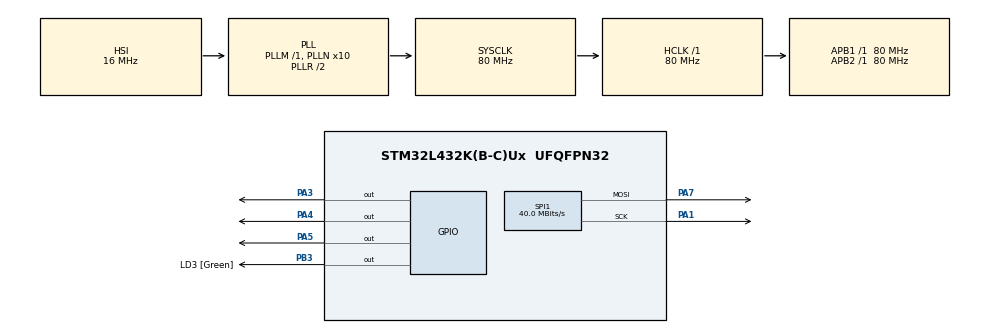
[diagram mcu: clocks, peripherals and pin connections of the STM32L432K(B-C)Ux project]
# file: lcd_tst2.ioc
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Mcu.Family=STM32L4
Mcu.Name=STM32L432K(B-C)Ux
Mcu.Package=UFQFPN32
NVIC.PriorityGroup=NVIC_PRIORITYGROUP_4
PA1.Mode=TX_Only_Simplex_Unidirect_Master
PA1.Signal=SPI1_SCK
PA3.GPIO_PuPd=GPIO_NOPULL
PA3.GPIO_Speed=GPIO_SPEED_FREQ_VERY_HIGH
PA3.PinState=GPIO_PIN_SET
PA3.Signal=GPIO_Output
PA4.GPIO_PuPd=GPIO_NOPULL
PA4.GPIO_Speed=GPIO_SPEED_FREQ_LOW
PA4.Signal=GPIO_Output
PA5.GPIO_PuPd=GPIO_NOPULL
PA5.GPIO_Speed=GPIO_SPEED_FREQ_VERY_HIGH
PA5.Signal=GPIO_Output
PA7.Mode=TX_Only_Simplex_Unidirect_Master
PA7.Signal=SPI1_MOSI
PB3\ (JTDO-TRACESWO).GPIO_Label=LD3 [Green]
PB3\ (JTDO-TRACESWO).Signal=GPIO_Output
ProjectManager.HeapSize=0x200
ProjectManager.StackSize=0x400
ProjectManager.TargetToolchain=STM32CubeIDE
RCC.ADCFreq_Value=64000000
RCC.AHBFreq_Value=80000000
RCC.APB1Freq_Value=80000000
RCC.APB1TimFreq_Value=80000000
RCC.APB2Freq_Value=80000000
RCC.APB2TimFreq_Value=80000000
RCC.CortexFreq_Value=80000000
RCC.HCLKFreq_Value=80000000
RCC.HSE_VALUE=8000000
RCC.HSI16_VALUE=16000000
RCC.HSI48_VALUE=48000000
RCC.HSI_VALUE=16000000
RCC.LSE_VALUE=32768
RCC.MSI_VALUE=4000000
RCC.PLLMUL=RCC_PLLMUL_4
RCC.PLLN=10
RCC.PLLSourceVirtual=RCC_PLLSOURCE_HSI
RCC.SYSCLKFreq_VALUE=80000000
RCC.SYSCLKSource=RCC_SYSCLKSOURCE_PLLCLK
RCC.USBFreq_Value=64000000
RCC.VCOOutputFreq_Value=160000000
SPI1.BaudRatePrescaler=SPI_BAUDRATEPRESCALER_2
SPI1.CRCCalculation=SPI_CRCCALCULATION_DISABLE
SPI1.CalculateBaudRate=40.0 MBits/s
SPI1.DataSize=SPI_DATASIZE_8BIT
SPI1.Direction=SPI_DIRECTION_2LINES
SPI1.FirstBit=SPI_FIRSTBIT_MSB
SPI1.Mode=SPI_MODE_MASTER
SPI1.NSSPMode=SPI_NSS_PULSE_ENABLE
SPI1.VirtualType=VM_MASTER
board=NUCLEO-L432KC

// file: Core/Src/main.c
/* USER CODE BEGIN Header */
/**
  ******************************************************************************
  * @file           : main.c
  * @brief          : Main program body
  ******************************************************************************
  * @attention
  *
  * Copyright (c) 2025 STMicroelectronics.
  * All rights reserved.
  *
  * This software is licensed under terms that can be found in the LICENSE file
  * in the root directory of this software component.
  * If no LICENSE file comes with this software, it is provided AS-IS.
  *
  ******************************************************************************
  */
/* USER CODE END Header */
#include "main.h"

/* USER CODE BEGIN Includes */
#include "ILI9341_GFX.h"
#include "ILI9341_STM32_Driver.h"
#include "stdio.h"
#include "snow_tiger.h"
#include "pri_logo.h"
#include "tst_img.h"
#include "string.h"
/* USER CODE END Includes */

SPI_HandleTypeDef hspi1;

void SystemClock_Config(void);
static void MX_GPIO_Init(void);
static void MX_SPI1_Init(void);
/* USER CODE BEGIN PFP */
void test_nepali(void);
void phut_nep(void);
void draw_logo(void);
/* USER CODE END PFP */

int main(void)
{

  /* MCU Configuration--------------------------------------------------------*/

  /* Reset of all peripherals, Initializes the Flash interface and the Systick. */
  HAL_Init();

  /* Configure the system clock */
  SystemClock_Config();

  /* Initialize all configured peripherals */
  MX_GPIO_Init();
  MX_SPI1_Init();
  /* USER CODE BEGIN 2 */
  ILI9341_Init();
  /* USER CODE END 2 */

  /* Infinite loop */
  /* USER CODE BEGIN WHILE */
//  phut_nep();
//  HAL_Delay(2000);
  test_nepali();
  while (1)
  {
    /* USER CODE END WHILE */

  }
}

void SystemClock_Config(void)
{
  RCC_OscInitTypeDef RCC_OscInitStruct = {0};
  RCC_ClkInitTypeDef RCC_ClkInitStruct = {0};

  /** Configure the main internal regulator output voltage
  */
  if (HAL_PWREx_ControlVoltageScaling(PWR_REGULATOR_VOLTAGE_SCALE1) != HAL_OK)
  {
    Error_Handler();
  }

  /** Initializes the RCC Oscillators according to the specified parameters
  * in the RCC_OscInitTypeDef structure.
  */
  RCC_OscInitStruct.OscillatorType = RCC_OSCILLATORTYPE_HSI;
  RCC_OscInitStruct.HSIState = RCC_HSI_ON;
  RCC_OscInitStruct.HSICalibrationValue = RCC_HSICALIBRATION_DEFAULT;
  RCC_OscInitStruct.PLL.PLLState = RCC_PLL_ON;
  RCC_OscInitStruct.PLL.PLLSource = RCC_PLLSOURCE_HSI;
  RCC_OscInitStruct.PLL.PLLM = 1;
  RCC_OscInitStruct.PLL.PLLN = 10;
  RCC_OscInitStruct.PLL.PLLP = RCC_PLLP_DIV7;
  RCC_OscInitStruct.PLL.PLLQ = RCC_PLLQ_DIV2;
  RCC_OscInitStruct.PLL.PLLR = RCC_PLLR_DIV2;
  if (HAL_RCC_OscConfig(&RCC_OscInitStruct) != HAL_OK)
  {
    Error_Handler();
  }

  /** Initializes the CPU, AHB and APB buses clocks
  */
  RCC_ClkInitStruct.ClockType = RCC_CLOCKTYPE_HCLK|RCC_CLOCKTYPE_SYSCLK
                              |RCC_CLOCKTYPE_PCLK1|RCC_CLOCKTYPE_PCLK2;
  RCC_ClkInitStruct.SYSCLKSource = RCC_SYSCLKSOURCE_PLLCLK;
  RCC_ClkInitStruct.AHBCLKDivider = RCC_SYSCLK_DIV1;
  RCC_ClkInitStruct.APB1CLKDivider = RCC_HCLK_DIV1;
  RCC_ClkInitStruct.APB2CLKDivider = RCC_HCLK_DIV1;

  if (HAL_RCC_ClockConfig(&RCC_ClkInitStruct, FLASH_LATENCY_4) != HAL_OK)
  {
    Error_Handler();
  }
}

static void MX_SPI1_Init(void)
{

  /* SPI1 parameter configuration*/
  hspi1.Instance = SPI1;
  hspi1.Init.Mode = SPI_MODE_MASTER;
  hspi1.Init.Direction = SPI_DIRECTION_2LINES;
  hspi1.Init.DataSize = SPI_DATASIZE_8BIT;
  hspi1.Init.CLKPolarity = SPI_POLARITY_LOW;
  hspi1.Init.CLKPhase = SPI_PHASE_1EDGE;
  hspi1.Init.NSS = SPI_NSS_SOFT;
  hspi1.Init.BaudRatePrescaler = SPI_BAUDRATEPRESCALER_2;
  hspi1.Init.FirstBit = SPI_FIRSTBIT_MSB;
  hspi1.Init.TIMode = SPI_TIMODE_DISABLE;
  hspi1.Init.CRCCalculation = SPI_CRCCALCULATION_DISABLE;
  hspi1.Init.CRCPolynomial = 7;
  hspi1.Init.CRCLength = SPI_CRC_LENGTH_DATASIZE;
  hspi1.Init.NSSPMode = SPI_NSS_PULSE_ENABLE;
  if (HAL_SPI_Init(&hspi1) != HAL_OK)
  {
    Error_Handler();
  }

}

static void MX_GPIO_Init(void)
{
  GPIO_InitTypeDef GPIO_InitStruct = {0};

  /* GPIO Ports Clock Enable */
  __HAL_RCC_GPIOA_CLK_ENABLE();
  __HAL_RCC_GPIOB_CLK_ENABLE();

  /*Configure GPIO pin Output Level */
  HAL_GPIO_WritePin(GPIOA, GPIO_PIN_3, GPIO_PIN_SET);

  /*Configure GPIO pin Output Level */
  HAL_GPIO_WritePin(GPIOA, GPIO_PIN_4|GPIO_PIN_5, GPIO_PIN_RESET);

  /*Configure GPIO pin Output Level */
  HAL_GPIO_WritePin(LD3_GPIO_Port, LD3_Pin, GPIO_PIN_RESET);

  /*Configure GPIO pins : PA3 PA5 */
  GPIO_InitStruct.Pin = GPIO_PIN_3|GPIO_PIN_5;
  GPIO_InitStruct.Mode = GPIO_MODE_OUTPUT_PP;
  GPIO_InitStruct.Pull = GPIO_NOPULL;
  GPIO_InitStruct.Speed = GPIO_SPEED_FREQ_VERY_HIGH;
  HAL_GPIO_Init(GPIOA, &GPIO_InitStruct);

  /*Configure GPIO pin : PA4 */
  GPIO_InitStruct.Pin = GPIO_PIN_4;
  GPIO_InitStruct.Mode = GPIO_MODE_OUTPUT_PP;
  GPIO_InitStruct.Pull = GPIO_NOPULL;
  GPIO_InitStruct.Speed = GPIO_SPEED_FREQ_LOW;
  HAL_GPIO_Init(GPIOA, &GPIO_InitStruct);

  /*Configure GPIO pin : LD3_Pin */
  GPIO_InitStruct.Pin = LD3_Pin;
  GPIO_InitStruct.Mode = GPIO_MODE_OUTPUT_PP;
  GPIO_InitStruct.Pull = GPIO_NOPULL;
  GPIO_InitStruct.Speed = GPIO_SPEED_FREQ_LOW;
  HAL_GPIO_Init(LD3_GPIO_Port, &GPIO_InitStruct);

}

/* USER CODE BEGIN 4 */
void test_nepali(void)
{
	char nepali[42] = "svu3Br5hem`67890ftybwgkkmaedo/njzif;xIfq1";
	char vow[25] = "ccfOO{ppmPP]cf]cf}c+cM";
	char spc[18] = "flL'\"]}+MF[\\{|f]f}";
	char misc[5] = ",-_.=";
	char num[10] = "!@#$%^&*()";

	uint8_t fWidth = PREETI[1]+4;
	uint8_t fHeight = PREETI[2]+4;
	float scale = 0.5;

	uint16_t x = 0;
	uint16_t y = 0;
	uint8_t i = 0;
	uint8_t tst[3] = {0,8,37};
	char word[5];

	uint8_t len_spc = strlen(spc);
	uint8_t len_nep = strlen(nepali);

	ILI9341_SetRotation(SCREEN_VERTICAL_2);
	ILI9341_FillScreen(BLACK);

	while(i<len_nep)
	{
		if(i == 8 || i == 15 || i == 23 || i == 33 || i == 37)
		{
			word[0] = nepali[i];
			word[1] = nepali[i+1];
			word[2] = '\0';
			i += 2;
		}
		else
		{
			word[0] = nepali[i];
			word[1] = '\0';
			i++;
		}
		ILI9341_PreetiText(word, PREETI, scale, x,y, WHITE, BLACK);
		x += fWidth;
		if(x > (320/scale - fWidth)){x = 0; y += fHeight;}
	}
	HAL_Delay(2000);

	/*Print numbers 1,2,3,4,5,6,7,8,9,0*/
	ILI9341_FillScreen(BLACK);
	x = 0; y = 0;
	ILI9341_PreetiText(num, PREETI,scale, x,y, WHITE, BLACK);

	/*Print Vowels*/
	x = 0; y += fHeight;
	ILI9341_PreetiText(vow, PREETI, scale, x,y, WHITE, BLACK);

	/*Print special characters available in the font*/
	x = 0; y += fHeight;
	ILI9341_PreetiText("sf]", PREETI, scale ,x,y, WHITE, BLACK);
	HAL_Delay(5000);

	/*Test varnamala*/
	i = 0;
	while(i < 3)
	{
	  uint16_t x = 0;
	  uint8_t y = 0;
	  uint8_t j = 0;

	  ILI9341_FillScreen(BLACK);
	  while(j<len_spc)
	  {
		  if (i == 0 && j <14)
		  {
			  word[0] = nepali[tst[i]];
			  word[1] = spc[j];
			  word[2] = '\0';
		  }
		  else if (i == 0 && j >13)
		  {
			  word[0] = nepali[tst[i]];
			  word[1] = spc[j];
			  word[2] = spc[j+1];
			  word[3] = '\0';
			  j++;
		  }
		  else if (i > 0 && j >13)
		  {
			  word[0] = nepali[tst[i]];
			  word[1] = nepali[tst[i]+1];
			  word[2] = spc[j];
			  word[3] = spc[j+1];
			  word[4] = '\0';
			  j++;
		  }
		  else
		  {
			  word[0] = nepali[tst[i]];
			  word[1] = nepali[tst[i]+1];
			  word[2] = spc[j];
			  word[3] = '\0';
		  }

		  ILI9341_PreetiText(word, PREETI, scale ,x,y, WHITE, BLACK);
		  x += fWidth +10;
		  if(x > (320/scale - (fWidth+10))){x = 0; y += fHeight;}
		  j++;
	  }

	  HAL_Delay(10000);
	  i++;
	}
//	/*Print Hello World*/
//	ILI9341_FillScreen(BLACK);
//	x = 0; y = 0;
//	ILI9341_PreetiText("x]Nnf] jf]N8{", PREETI,1,x,y, WHITE, BLACK);

}

void draw_logo(void)
{
	ILI9341_FillScreen(WHITE);
	ILI9341_DrawImage(fig, SCREEN_VERTICAL_2);
}

void phut_nep(void)
{
	ILI9341_SetRotation(SCREEN_VERTICAL_2);
	ILI9341_FillScreen(BLACK);
	uint16_t x = 60;
	uint16_t y = 30;
	ILI9341_PreetiText("km'6'B\\u",PREETI, 1, x,y, 0x065F, BLACK);
	y += 90;
	ILI9341_DrawFilledRectangleCoord(x, y,x+30*6+15 ,y+6, 0x0257);
	y += 10;
	y *= 2.5;
	x *= 2.5;
	ILI9341_PreetiText("/l;{r", PREETI, 0.4, x,y, 0x0257, BLACK);
	x += 55*3;
	ILI9341_PreetiText("OG;6l6\\o'6", PREETI, 0.4, x,y, 0x8DA0, BLACK);
}
/* USER CODE END 4 */

void Error_Handler(void)
{
  __disable_irq();
  while (1)
  {
  }
}
